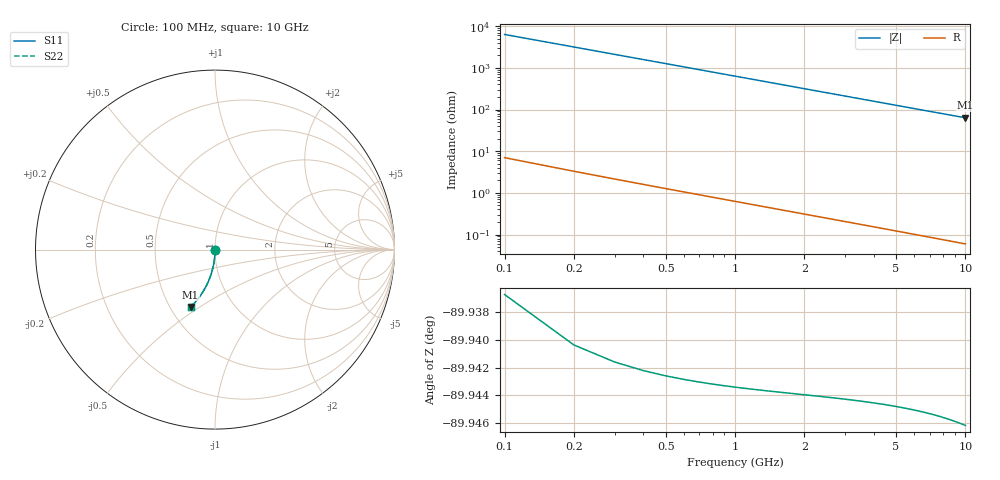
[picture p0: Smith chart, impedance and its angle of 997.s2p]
# Hz S RI R 50.00
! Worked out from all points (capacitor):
!   100 points, 100 MHz to 10 GHz, reference 50 ohm
!   read as one part in shunt: C = 251 fF near 100 MHz
!   lowest |Z| = 63.4 ohm at 10 GHz (marker M1)
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1e8  9.38e-05 -0.00372  0.9999 -0.00417  0.9999 -0.00417  9.38e-05 -0.00372
2e8  4.42e-05 -0.00743  0.9998 -0.00835  0.9998 -0.00835  4.42e-05 -0.00743
3e8  -3.66e-05 -0.0111  0.9997 -0.0125  0.9997 -0.0125  -3.66e-05 -0.0111
4e8  -0.000148 -0.0149  0.9996 -0.0167  0.9996 -0.0167  -0.000148 -0.0149
5e8  -0.000291 -0.0186  0.9995 -0.0209  0.9995 -0.0209  -0.000291 -0.0186
6e8  -0.000465 -0.0223  0.9993 -0.025  0.9993 -0.025  -0.000465 -0.0223
7e8  -0.00067 -0.026  0.9991 -0.0292  0.9991 -0.0292  -0.00067 -0.026
8e8  -0.000906 -0.0297  0.9989 -0.0334  0.9989 -0.0334  -0.000906 -0.0297
9e8  -0.00117 -0.0334  0.9986 -0.0375  0.9986 -0.0375  -0.00117 -0.0334
1.1e9  -0.0018 -0.0408  0.998 -0.0458  0.998 -0.0458  -0.0018 -0.0408
1.4e9  -0.00297 -0.0519  0.9968 -0.0583  0.9968 -0.0583  -0.00297 -0.0519
1.8e9  -0.00495 -0.0665  0.9948 -0.0748  0.9948 -0.0748  -0.00495 -0.0665
2.1e9  -0.00676 -0.0775  0.993 -0.0871  0.993 -0.0871  -0.00676 -0.0775
2.5e9  -0.00959 -0.092  0.9901 -0.1035  0.9901 -0.1035  -0.00959 -0.092
2.9e9  -0.0129 -0.1064  0.9868 -0.1197  0.9868 -0.1197  -0.0129 -0.1064
3.4e9  -0.0177 -0.1241  0.982 -0.1397  0.982 -0.1397  -0.0177 -0.1241
4.2e9  -0.0268 -0.1519  0.9728 -0.1712  0.9728 -0.1712  -0.0268 -0.1519
5.1e9  -0.039 -0.1821  0.9604 -0.2056  0.9604 -0.2056  -0.039 -0.1821
5.9e9  -0.0516 -0.2079  0.9477 -0.235  0.9477 -0.235  -0.0516 -0.2079
6.7e9  -0.0657 -0.2325  0.9336 -0.2634  0.9336 -0.2634  -0.0657 -0.2325
8.4e9  -0.0998 -0.2806  0.8991 -0.3194  0.8991 -0.3194  -0.0998 -0.2806
1e10  -0.1363 -0.3201  0.8624 -0.3664  0.8624 -0.3664  -0.1363 -0.3201
